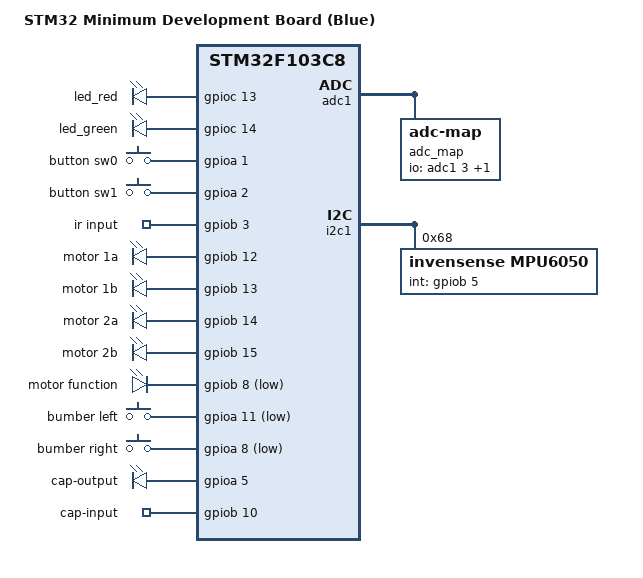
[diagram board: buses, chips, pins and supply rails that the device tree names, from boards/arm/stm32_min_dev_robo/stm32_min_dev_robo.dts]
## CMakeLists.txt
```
# SPDX-License-Identifier: Apache-2.0

cmake_minimum_required(VERSION 3.13.1)

set(DTC_OVERLAY_FILE "${CMAKE_CURRENT_SOURCE_DIR}/devicetree.overlay")
include($ENV{ZEPHYR_BASE}/cmake/app/boilerplate.cmake NO_POLICY_SCOPE)

project(SUPA_ROB)

file(GLOB_RECURSE app_sources "src/*.c" )
file(GLOB_RECURSE app_sources_cpp "src/*.cpp" )

target_sources(app PRIVATE ${app_sources} ${app_sources_cpp})
```

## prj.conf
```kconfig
CONFIG_GPIO=y
CONFIG_ADC=y


CONFIG_HEAP_MEM_POOL_SIZE=256
CONFIG_THREAD_STACK_INFO=y
CONFIG_INIT_STACKS=y
CONFIG_THREAD_MONITOR=y
CONFIG_THREAD_NAME=y
CONFIG_THREAD_MAX_NAME_LEN=16

CONFIG_PRINTK=y
CONFIG_SERIAL=y
CONFIG_LOG=y
CONFIG_LOG_MINIMAL=y
CONFIG_STDOUT_CONSOLE=y


CONFIG_SHELL=y
CONFIG_SHELL_WILDCARD=n
CONFIG_SHELL_VT100_COLORS=n
CONFIG_SHELL_METAKEYS=n
CONFIG_SHELL_HISTORY=n
CONFIG_SHELL_STATS=n
CONFIG_SHELL_CMDS_RESIZE=n
CONFIG_KERNEL_SHELL=y

CONFIG_REBOOT=y
CONFIG_GPIO_STM32_SWJ_NOJTAG=y
CONFIG_COMPILER_OPT="-Wdouble-promotion"
```

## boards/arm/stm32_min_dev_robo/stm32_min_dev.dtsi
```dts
/*
 * Copyright (c) 2019, embedjournal.com
 *
 * SPDX-License-Identifier: Apache-2.0
 */

/dts-v1/;
#include <st/f1/stm32f103X8.dtsi>

/ {
	model = "STM32 Minimum Development Board";
	compatible = "st,stm32f103c8";

	chosen {
		zephyr,console = &usart1;
		zephyr,shell-uart = &usart1;
		zephyr,sram = &sram0;
		zephyr,flash = &flash0;
	};


};

&usart1 {
	current-speed = <115200>;
	status = "okay";
};

&usart2 {
	current-speed = <115200>;
	status = "disabled";
};

&usart3 {
	current-speed = <115200>;
	status = "disabled";
};

&i2c1 {
	status = "okay";
	clock-frequency = <I2C_BITRATE_FAST>;
};

&i2c2 {
	status = "disabled";
	clock-frequency = <I2C_BITRATE_FAST>;
};

&spi1 {
	status = "disabled";
};

&spi2 {
	status = "disabled";
};

&timers1 {
	status = "disabled";

	pwm {
		status = "disabled";
	};
};

&usb {
	status = "disabled";
};
```

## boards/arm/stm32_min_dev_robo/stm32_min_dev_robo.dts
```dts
/*
 * Copyright (c) 2017, embedjournal.com
 *
 * SPDX-License-Identifier: Apache-2.0
 */

/dts-v1/;
#include "stm32_min_dev.dtsi"

/ {
	model = "STM32 Minimum Development Board (Blue)";
	compatible = "st,stm32_min_dev_blue", "st,stm32f103c8";

	leds {
	    compatible = "gpio-leds";
		led_red {
			gpios = <&gpioc 13 GPIO_ACTIVE_HIGH>;
			label = "led_red";
		};
		led_green  {
			gpios = <&gpioc 14 GPIO_ACTIVE_HIGH>;
			label = "led_green";
		};		
	};
	
	buttons {
		compatible = "gpio-keys";
		button_sw0 {
			label = "button sw0";
			gpios = <&gpioa 1 GPIO_INT_ACTIVE_HIGH >;
		};
		button_sw1 {
			label = "button sw1";
			gpios = <&gpioa 2 GPIO_INT_ACTIVE_HIGH >;
		};
        };
    

	ir_receiver_input
	{
		compatible = "gpio-keys";
		ir_input: ir_input {
			label = "ir input";
			gpios = <&gpiob 3 GPIO_INT_ACTIVE_HIGH >;
		};
	};
	
	motor_control
	{
	   compatible = "gpio-leds";
	   motor_1a {
			gpios = <&gpiob 12 GPIO_ACTIVE_HIGH>;
			label = "motor 1a";
	   };
	   motor_1b {
			gpios = <&gpiob 13 GPIO_ACTIVE_HIGH>;
			label = "motor 1b";
	   };
	   motor_2a {
			gpios = <&gpiob 14 GPIO_ACTIVE_HIGH>;
			label = "motor 2a";
	   };
	   motor_2b {
			gpios = <&gpiob 15 GPIO_ACTIVE_HIGH>;
			label = "motor 2b";
	   };
	   motor_fun: motor_fun {
			gpios = <&gpiob 8 GPIO_ACTIVE_LOW>;
			label = "motor function";
	   };
	};
	
	motor_bumbers
	{
		compatible = "gpio-keys";
		bumber_left: bumber_left {
			label = "bumber left";
			gpios = <&gpioa 11 (GPIO_PULL_UP | GPIO_ACTIVE_LOW)>;
		};
		bumber_right: bumber_right {
			label = "bumber right";
			gpios = <&gpioa 8 (GPIO_PULL_UP | GPIO_ACTIVE_LOW)>;
		};
	};
	
	cap-gpio-out {
			compatible = "gpio-leds";
			cap-out {
					gpios = <&gpioa 5 GPIO_ACTIVE_HIGH>;
					label = "cap-output";
			};
	};
	cap-gpio-in
	{
		compatible =  "gpio-keys";
		cap-in {
			gpios = <&gpiob 10 GPIO_ACTIVE_HIGH >;
			label = "cap-input";
		};
}; 
		

};

&adc1 {
	status = "okay";

	adc_map: adcmap {
	    compatible="adc-map";
	    io-channels = <&adc1 3>, <&adc1 4>; 
	    io-channel-names = "BVOLT", "BMOTOR_CURR";
	};

};


&usart1 {
	parity = <2>;
};

&i2c1 {
        mpu6050@68 {
                compatible = "invensense,mpu6050";
                reg = <0x68>;
                status = "okay";
                label = "MPU6050";
                int-gpios = <&gpiob 5 GPIO_ACTIVE_HIGH>;
        };
};


&flash0 {
        /*
         * For more information, see:
         * http://docs.zephyrproject.org/latest/guides/dts/index.html#flash-partitions
         */
        partitions {
                compatible = "fixed-partitions";
                #address-cells = <1>;
                #size-cells = <1>;

                /* Set 6Kb of storage at the end of the 64Kb of flash */
                storage_partition: partition@e800 {
                        label = "storage";
                        reg = <0x0000e800 0x00001800>;
                };
        };
};
```

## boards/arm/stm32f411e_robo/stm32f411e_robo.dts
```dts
/*
 * Copyright (c) 2017 Fenix Engineering Solutions
 *
 * SPDX-License-Identifier: Apache-2.0
 */

/dts-v1/;
#include <st/f4/stm32f411Xe.dtsi>

/ {
	model = "STMicroelectronics STM32F411E-DISCO board";
	compatible = "st,stm32f411e-disco", "st,stm32f411";

	chosen {
		zephyr,console = &usart2;
		zephyr,shell-uart = &usart2;
		zephyr,sram = &sram0;
		zephyr,flash = &flash0;
	};
	
	ir_receiver_output 
	{
	   compatible = "gpio-leds";
	   ir_output: ir_output {
			gpios = <&gpiod 15 GPIO_INT_ACTIVE_HIGH>;
			label = "ir output"; // Also led blue
	   };

	};
	ir_receiver_input
	{
		compatible = "gpio-keys";
		ir_input: ir_input {
			label = "ir input";
			gpios = <&gpioc 6 GPIO_INT_ACTIVE_HIGH >;
		};
	};
	
	motor_control
	{
	   compatible = "gpio-leds";
	   motor_1a: motor_1a {
			gpios = <&gpioe 9 GPIO_INT_ACTIVE_HIGH>;
			label = "motor 1a";
	   };
	   motor_1b: motor_1b {
			gpios = <&gpioe 10 GPIO_INT_ACTIVE_HIGH>;
			label = "motor 1b";
	   };
	   motor_2a: motor_2a {
			gpios = <&gpioe 11 GPIO_INT_ACTIVE_HIGH>;
			label = "motor 2a";
	   };
	   motor_2b: motor_2b {
			gpios = <&gpioe 12 GPIO_INT_ACTIVE_HIGH>;
			label = "motor 2b";
	   };
	};

	leds {
		compatible = "gpio-leds";
		orange_led_3: led_3 {
			gpios = <&gpiod 13 GPIO_INT_ACTIVE_HIGH>;
			label = "User LD3";
		};
		green_led_4: led_4 {
			gpios = <&gpiod 12 GPIO_INT_ACTIVE_HIGH>;
			label = "User LD4";
		};
		red_led_5: led_5 {
			gpios = <&gpiod 14 GPIO_INT_ACTIVE_HIGH>;
			label = "User LD5";
		};
		blue_led_6: led_6 {
			gpios = <&gpiod 15 GPIO_INT_ACTIVE_HIGH>;
			label = "User LD6";
		};
	};

	gpio_keys {
		compatible = "gpio-keys";
		user_button: button {
			label = "User";
			gpios = <&gpioa 0 GPIO_INT_ACTIVE_HIGH >;
		};
	};
	
       pwm_motors {
               compatible = "pwm-leds";
               pwm_motors_left:  pwm_motors_left {
                       pwms = <&{/soc/timers@40000000/pwm} 1 0>;
               };
               pwm_motors_right:  pwm_motors_right {
                       pwms = <&{/soc/timers@40000000/pwm} 2 0>;
               };
       };


	aliases {
		led0 = &green_led_4;
		led1 = &orange_led_3;
		led2 = &red_led_5;
		led3 = &blue_led_6;
		sw0 = &user_button;
		pwm-motor-left = &pwm_motors_left;
		pwm-motor-right = &pwm_motors_right; 
	};
};

&usart2 {
	current-speed = <115200>;
	status = "okay";
};

&timers2 {
       status = "okay";

       pwm {
               st,prescaler = <100>; 
               status = "okay";
       };
};


&rtc {
	status = "okay";
};
```

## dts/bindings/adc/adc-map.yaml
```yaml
# Copyright (c) 2019, Peter Bigot Consulting, LLC
# SPDX-License-Identifier: Apache-2.0

description: |
    Description for a voltage divider, with optional ability to measure
    resistance of the upper leg.

compatible: "adc-map"

properties:
    io-channels:
      type: phandle-array
      required: true
      description: |
        Channels available with this divider configuration.

    io-channel-names:
      type: string-array
      required: true
      description: |
        Conversion channel names
```

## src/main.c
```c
/*
 * Copyright (c) 2016 Intel Corporation
 *
 * SPDX-License-Identifier: Apache-2.0
 */

/**
 * @file Sample app to demonstrate PWM.
 *
 * This app uses PWM[0].
 */


#include <stdlib.h>
#include <string.h>

#include <zephyr.h>
#include <sys/printk.h>
#include <power/reboot.h>
#include <device.h>
#include <fatal.h>
#include <init.h>


#include <drivers/pwm.h>
#include <drivers/gpio.h>

#include <logging/log.h>
#include <logging/log_ctrl.h>

#include <shell/shell.h>
#include <shell/shell_uart.h>

#define SUPA_MODULE "mai"
#include "main.h"
#include "motor/motors.h"
#include "ui/ui.h"
#include "logic/logic.h"
#include "monitor/monitor.h"
#include "utils/utils.h"
#include "utils/boot.h"

LOG_MODULE_REGISTER(app);


#define SHE_INF( fmt, ...) \
  shell_fprintf(shell, SHELL_NORMAL, fmt, ##__VA_ARGS__)

#define SHE_ERR( fmt, ...) \
  shell_fprintf(shell, SHELL_ERROR, fmt, ##__VA_ARGS__)

  
void supa_fatal_handler( const char* module, int line )
{
    printk("\nFATAL ERROR %s:%d\n", module, line );
    k_sys_fatal_error_handler(0xFFFF, NULL );
}
  
static void ircmd_move( UI_keycode code, bool repeated );
static void ircmd_function( UI_keycode code, bool repeated );
static void ircmd_auto( UI_keycode code, bool repeated );
static void ircmd_power( UI_keycode code, bool repeated );

void k_sys_fatal_error_handler(unsigned int reason, const z_arch_esf_t *esf)
{
    ARG_UNUSED(esf);
    motors_abort();
    LOG_PANIC();
    sys_reboot( SYS_REBOOT_COLD );
    CODE_UNREACHABLE;
}

#define BLINK_LED_NAME DT_GPIO_LEDS_LED_RED_LABEL
void main(void)
{
    u32_t cnt = 0;
    struct device* dev;

    monitor_init();
    
    dev = device_get_binding( DT_GPIO_LEDS_LED_RED_GPIOS_CONTROLLER );
    RET_CHECK( gpio_pin_configure( dev, DT_GPIO_LEDS_LED_RED_GPIOS_PIN, GPIO_OUTPUT | DT_GPIO_LEDS_LED_RED_GPIOS_FLAGS ) );
    
    
    ui_receiver_register( IRKEY_VOL_UP, ircmd_move );
    ui_receiver_register( IRKEY_VOL_DOWN, ircmd_move );
    ui_receiver_register( IRKEY_LEFT, ircmd_move);
    ui_receiver_register( IRKEY_RIGHT, ircmd_move );    
    ui_receiver_register( IRKEY_FUNCTION, ircmd_function );
    ui_receiver_register( IRKEY_AUTO_ON, ircmd_auto );
    ui_receiver_register( IRKEY_POWER, ircmd_power );

    ui_receiver_register( UI_SW_0, ircmd_auto );
    ui_receiver_register( UI_SW_1, ircmd_function );
    
    
    LOG_INF("Robot control task started!");
    while (1) 
    {
      gpio_pin_set(dev, DT_GPIO_LEDS_LED_RED_GPIOS_PIN, cnt % 2);
      cnt++;
      k_sleep( K_MSEC(250) );
      
      monitor_update();
    }
}



static void ircmd_move( UI_keycode code, bool repeated )
{
    float params[3] = {0};
    
    static const float MOTOR_TEST_TURN_ANGLE     = 90.0f;
    static const float MOTOR_TEST_DRIVE_DISTANCE = 20.0f;
    
    if (repeated)
        return;
    
    uint32_t opcode = 0;
    switch (code)
    {
        case IRKEY_VOL_UP:
            params[0] = MOTOR_TEST_DRIVE_DISTANCE;
            params[1] = MOTOR_TEST_DRIVE_DISTANCE;
            params[2] = MOTOR_MAX_SPEED_CM_S;
            opcode    = MOTOR_CMD_DRIVE;
            break;
        case IRKEY_VOL_DOWN:
            params[0] = -MOTOR_TEST_DRIVE_DISTANCE;
            params[1] = -MOTOR_TEST_DRIVE_DISTANCE;
            params[2] = MOTOR_MAX_SPEED_CM_S;
            opcode    = MOTOR_CMD_DRIVE;
            break;            
        case IRKEY_LEFT:
            params[0] = -MOTOR_TEST_TURN_ANGLE;
            opcode    = MOTOR_CMD_ROTATE;
            break;        
        case IRKEY_RIGHT:
            params[0] = +MOTOR_TEST_TURN_ANGLE;
            opcode    = MOTOR_CMD_ROTATE;
            break; 
        default:
            ASSERT(0);
            return;
    }
    motors_send_cmd( opcode, params, 3 );
}

static void ircmd_function( UI_keycode code, bool pressed )
{
    motors_control_function( pressed );
}

static void ircmd_power( UI_keycode code, bool pressed )
{
    if (!pressed)
        return;
    
    motors_send_cmd( MOTOR_CMD_STOP, NULL, 0 );
    motors_control_function( false ); 
       
}

static void ircmd_auto( UI_keycode code, bool pressed )
{
    if ( pressed == false )
    {
        logic_send( LOGIC_CMD_STOP );
        return;
    }
        
    if ( ui_receiver_read( UI_SW_1 ) == false )
    {
        LOG_INF("Starting LEFT version of logic");
       logic_send( LOGIC_CMD_START_LEFT );
    }
    else
    {
        LOG_INF("Starting RIGHT version of logic");
        logic_send( LOGIC_CMD_START_RIGHT );
    }
}


static int cmd_reboot(const struct shell *shell, size_t argc, char **argv)
{
    ARG_UNUSED(argc);
    ARG_UNUSED(argv);
    ARG_UNUSED(shell);
    SHE_INF("Reboot requested now!\n");
    sys_reboot( SYS_REBOOT_COLD );
    return 0;
}

static int cmd_bootloader(const struct shell *shell, size_t argc, char **argv)
{
    ARG_UNUSED(argc);
    ARG_UNUSED(argv);
    ARG_UNUSED(shell);
    SHE_INF("Reboot BOOTLOADER!\n");
    supa_bootloader_enable();
    sys_reboot( SYS_REBOOT_COLD );
    return 0;
}




static int cmd_motor_stop(const struct shell *shell, size_t argc, char **argv)
{
    ARG_UNUSED(argc);
    ARG_UNUSED(argv);
    ARG_UNUSED(shell);
    motors_send_cmd( MOTOR_CMD_STOP, NULL, 0 );
    return 0; 
}


static int cmd_motor_test(const struct shell *shell, size_t argc, char **argv)
{
    ARG_UNUSED(argc);
    ARG_UNUSED(argv);
    ARG_UNUSED(shell);

   int32_t params[3];
   
    if ( parse_i32(argv[1], &params[0]) || parse_i32(argv[2], &params[1]) || parse_i32(argv[3], &params[2] ) )
    {

        SHE_ERR("Invalid arguments.\n");
        return -EINVAL;
    }
    
    motors_send_cmd( MOTOR_CMD_TEST, params, 3 );
    return 0; 
}

static int cmd_motor_pid(const struct shell *shell, size_t argc, char **argv)
{
   int params[3];
   ARG_UNUSED(argc);
   
   if ( parse_i32(argv[1], &params[0]) || parse_i32(argv[2], &params[1]) || parse_i32(argv[3], &params[2] ) )
   {

       SHE_ERR("Invalid arguments.\n");
       return -EINVAL;
   }
   float params_flt[3] = { params[0] / 100.0f, params[1] / 100.0f, params[2] / 100.0f }; 
    
   SHE_INF("Setting PID=%d %d %d /100\n", params[0],  params[1], params[2] );
   motors_set_pid( 0, params_flt );
   motors_set_pid( 1, params_flt );
   return 0;
}


static int cmd_motor_drive(const struct shell *shell, size_t argc, char **argv)
{
   int params[3];
   ARG_UNUSED(argc);
    if ( parse_i32(argv[1], &params[0]) || parse_i32(argv[2], &params[1]) || parse_i32(argv[3], &params[2] ) )
    {

        SHE_ERR("Invalid arguments.\n");
        return -EINVAL;
    }
    float params_flt[3] = { params[0] / 10.0f, params[1] / 10.0f, params[2] / 10.0f }; 
    
    motors_send_cmd( MOTOR_CMD_DRIVE, params_flt, 3 );
    return 0; 
}

static int cmd_motor_rotate(const struct shell *shell, size_t argc, char **argv)
{
   int params[1];
   ARG_UNUSED(argc);
    if ( parse_i32(argv[1], &params[0]) )
    {

        SHE_ERR("Invalid arguments.\n");
        return -EINVAL;
    }
    float params_flt[1] = { params[0] / 10.0f }; 
    
    motors_send_cmd( MOTOR_CMD_ROTATE, params_flt, 1 );
    return 0; 
}

static int cmd_test_ui(const struct shell *shell, size_t argc, char **argv)
{
   int params[1];
   ARG_UNUSED(argc);
    if ( parse_i32(argv[1], &params[0]) )
    {

        SHE_ERR("Invalid arguments.\n");
        return -EINVAL;
    }
    LOG_INF("Set UI state x%02X", params[0] );
    ui_signal_state( params[0] );
    return 0; 
}


SYS_INIT( supa_bootloader_check, PRE_KERNEL_1, 0 );

SHELL_STATIC_SUBCMD_SET_CREATE(sub_pwm,
        SHELL_CMD_ARG(drive, NULL, "drive <dist_left mm> <dist_right mm> <speed mm/sec>", cmd_motor_drive, 4, 0 ),
        SHELL_CMD_ARG(rot, NULL, "rotate <angle>", cmd_motor_rotate, 2, 0 ),
        SHELL_CMD_ARG(stop, NULL, "stop <>", cmd_motor_stop, 1, 0 ),
        SHELL_CMD_ARG(pid, NULL, "pid <>", cmd_motor_pid, 4, 0 ),                       
        SHELL_CMD_ARG(test, NULL, "test <time_ramp_sec> <time_const_sec> <max_speed cm/sec>", cmd_motor_test, 4, 0 ),
        SHELL_SUBCMD_SET_END
);
/* Creating root (level 0) command "demo" */
SHELL_CMD_REGISTER(motor, &sub_pwm, "MOTOR commands", NULL);
SHELL_CMD_ARG_REGISTER(reset, NULL, "RESTART system", cmd_reboot, 0, 0);
SHELL_CMD_ARG_REGISTER(bootloader, NULL, "REBOOT system to bootloader", cmd_bootloader, 0, 0);
SHELL_CMD_ARG_REGISTER(test_ui, NULL, "TEST_UIsystem", cmd_test_ui, 2, 0);
```

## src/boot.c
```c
#include "main.h"

#include <stm32f1xx_hal.h>
#include <stm32f1xx_hal_conf.h>
#include <stm32f1xx_ll_rtc.h>

#define SUPA_BOOTLOADER_VALUE 0xF1FA


static void set_bootloader( uint32_t value )
{
     __HAL_RCC_PWR_CLK_ENABLE();
     __HAL_RCC_BKP_CLK_ENABLE();
    HAL_PWR_EnableBkUpAccess();
    
    LL_RTC_DisableWriteProtection( RTC );
    LL_RTC_BKP_SetRegister( BKP, LL_RTC_BKP_DR1, value);
    LL_RTC_EnableWriteProtection( RTC );
    HAL_PWR_DisableBkUpAccess();
}



static void jump_to_bootloader()
{
    void (*bootloader_fun)(void);
    const uint32_t addr =  0x1FFFF000 ; // Seems to be valid to STM32F1xxx devices - check AN2606

    /**
     * Step: Set jump memory location for system memory
     *       Use address with 4 bytes offset which specifies jump location where program starts
     */
    bootloader_fun = (void (*)(void)) (*((uint32_t *)(addr + 4)));
    
    /**
     * Step: Set main stack pointer.
     *       This step must be done last otherwise local variables in this function
     *       don't have proper value since stack pointer is located on different position
     *
     *       Set direct address location which specifies stack pointer in SRAM location
     */
    __set_MSP(*(uint32_t *)addr);
    
    /**
     * Step: Actually call our function to jump to set location
     *       This will start system memory execution
     */
    bootloader_fun();
}


uint32_t supa_bootloader_get()
{
    __HAL_RCC_PWR_CLK_ENABLE();
    __HAL_RCC_BKP_CLK_ENABLE();
    HAL_PWR_EnableBkUpAccess();
    
    return LL_RTC_BKP_GetRegister( BKP, LL_RTC_BKP_DR1 );  
}



int supa_bootloader_check()
{

    uint32_t bootmode = supa_bootloader_get();
    if ( bootmode == SUPA_BOOTLOADER_VALUE )
    {
        set_bootloader( 0x00 );
        jump_to_bootloader();
    }
    return 0;
}

void supa_bootloader_enable()
{
    set_bootloader( SUPA_BOOTLOADER_VALUE );
}
```

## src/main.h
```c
#pragma once

#include <stdlib.h>
#include <string.h>

#include <zephyr.h>
#include <logging/log.h>
#include <sys/printk.h>

void supa_fatal_handler( const char* module, int line );



#ifdef SUPA_MODULE

#define FATAL_ERROR( fmt, ...) { \
   supa_fatal_handler( SUPA_MODULE, __LINE__ ); }
#define ASSERT_ISR(x) { if ( (x) == false ) { supa_fatal_handler( SUPA_MODULE, __LINE__ ); } };
#define ASSERT(x) { if ( (x) == false ) { supa_fatal_handler( SUPA_MODULE, __LINE__ ); } };

#endif

#define HAL_CHECK(x) if ( (x) != HAL_OK) { FATAL_ERROR("HAL call failed!"); };
#define RET_CHECK(x) { int32_t __ret_check = (x); if ( __ret_check != 0 ) { FATAL_ERROR("Call failed: %d", __ret_check ); }};

#define ROUND_INT(x) ( (int32_t)( x + 0.5f) )
#define UNLIKELY(expr) ( __builtin_expect(!!(expr), 0))
#define ABS(x) ((x)<0 ? -(x) : (x))

#define DEV_GET_CHECK( _dev, _name ) { \
    _dev = device_get_binding( _name ); \
    if ( _dev == NULL )\
    {\
        FATAL_ERROR("Cannot find device: %s", _name );\
        return;\
    }\
}

#define OS_DEFAULT_STACKSIZE 512
#define OS_DEFAULT_PRIORITY  7

   
```

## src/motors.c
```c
#include <drivers/pwm.h>
#include <drivers/gpio.h>

#include <logging/log.h>

TIM_HandleTypeDef LOCAL_tim_left;
TIM_HandleTypeDef LOCAL_tim_right;



extern void Error_Handler();

/* TIM3 init function */
void MX_TIM3_Init(void)
{
  TIM_SlaveConfigTypeDef sSlaveConfig = {0};
  TIM_MasterConfigTypeDef sMasterConfig = {0};

  
  __HAL_RCC_TIM3_CLK_ENABLE();

  LOCAL_tim_left.Instance = TIM3;
  LOCAL_tim_left.Init.Prescaler = 0;
  LOCAL_tim_left.Init.CounterMode = TIM_COUNTERMODE_UP;
  LOCAL_tim_left.Init.Period = 0xFFFF;
  LOCAL_tim_left.Init.ClockDivision = TIM_CLOCKDIVISION_DIV1;
  LOCAL_tim_left.Init.AutoReloadPreload = TIM_AUTORELOAD_PRELOAD_DISABLE;
  if (HAL_TIM_Base_Init(&LOCAL_tim_left) != HAL_OK)
  {
    Error_Handler();
  }
  
  
  sSlaveConfig.SlaveMode = TIM_SLAVEMODE_EXTERNAL1;
  sSlaveConfig.InputTrigger = TIM_TS_ETRF;
  sSlaveConfig.TriggerPolarity = TIM_TRIGGERPOLARITY_NONINVERTED;
  sSlaveConfig.TriggerPrescaler = TIM_TRIGGERPRESCALER_DIV1;
  sSlaveConfig.TriggerFilter = 0;
  if (HAL_TIM_SlaveConfigSynchro(&LOCAL_tim_left, &sSlaveConfig) != HAL_OK)
  {
    Error_Handler();
  }
  sMasterConfig.MasterOutputTrigger = TIM_TRGO_RESET;
  sMasterConfig.MasterSlaveMode = TIM_MASTERSLAVEMODE_DISABLE;
  if (HAL_TIMEx_MasterConfigSynchronization(&LOCAL_tim_left, &sMasterConfig) != HAL_OK)
  {
    Error_Handler();
  }
  
  if ( HAL_TIM_Base_Start(&LOCAL_tim_left) != HAL_OK)
  {
    Error_Handler();
  }   

}

/* TIM4 init function */
void MX_TIM4_Init(void)
{
  TIM_SlaveConfigTypeDef sSlaveConfig = {0};
  TIM_MasterConfigTypeDef sMasterConfig = {0};
  
  __HAL_RCC_TIM4_CLK_ENABLE();
     

  LOCAL_tim_right.Instance = TIM4;
  LOCAL_tim_right.Init.Prescaler = 0;
  LOCAL_tim_right.Init.CounterMode = TIM_COUNTERMODE_UP;
  LOCAL_tim_right.Init.Period = 0xFFFF;
  LOCAL_tim_right.Init.ClockDivision = TIM_CLOCKDIVISION_DIV1;
  LOCAL_tim_right.Init.AutoReloadPreload = TIM_AUTORELOAD_PRELOAD_DISABLE;
  if (HAL_TIM_Base_Init(&LOCAL_tim_right) != HAL_OK)
  {
    Error_Handler();
  }
  sSlaveConfig.SlaveMode = TIM_SLAVEMODE_EXTERNAL1;
  sSlaveConfig.InputTrigger = TIM_TS_ETRF;
  sSlaveConfig.TriggerPolarity = TIM_TRIGGERPOLARITY_NONINVERTED;
  sSlaveConfig.TriggerPrescaler = TIM_TRIGGERPRESCALER_DIV1;
  sSlaveConfig.TriggerFilter = 0;
  if (HAL_TIM_SlaveConfigSynchro(&LOCAL_tim_right, &sSlaveConfig) != HAL_OK)
  {
    Error_Handler();
  }
  sMasterConfig.MasterOutputTrigger = TIM_TRGO_RESET;
  sMasterConfig.MasterSlaveMode = TIM_MASTERSLAVEMODE_DISABLE;
  if (HAL_TIMEx_MasterConfigSynchronization(&LOCAL_tim_right, &sMasterConfig) != HAL_OK)
  {
    Error_Handler();
  }
  
  if (HAL_TIM_Base_Start(&LOCAL_tim_right ) != HAL_OK)
  {
    Error_Handler();
  }   

}




void motor_pos_init()
{
    MX_TIM3_Init();
    MX_TIM4_Init();
}


void motor_pos_get( u32_t* left, u32_t* right )
{
    (*left)  = __HAL_TIM_GET_COUNTER( &LOCAL_tim_left );
    (*right) = __HAL_TIM_GET_COUNTER( &LOCAL_tim_right );
    
}
```

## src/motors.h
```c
#pragma once


void motor_pos_get( u32_t* left, u32_t* right );
void motor_pos_init();
```
